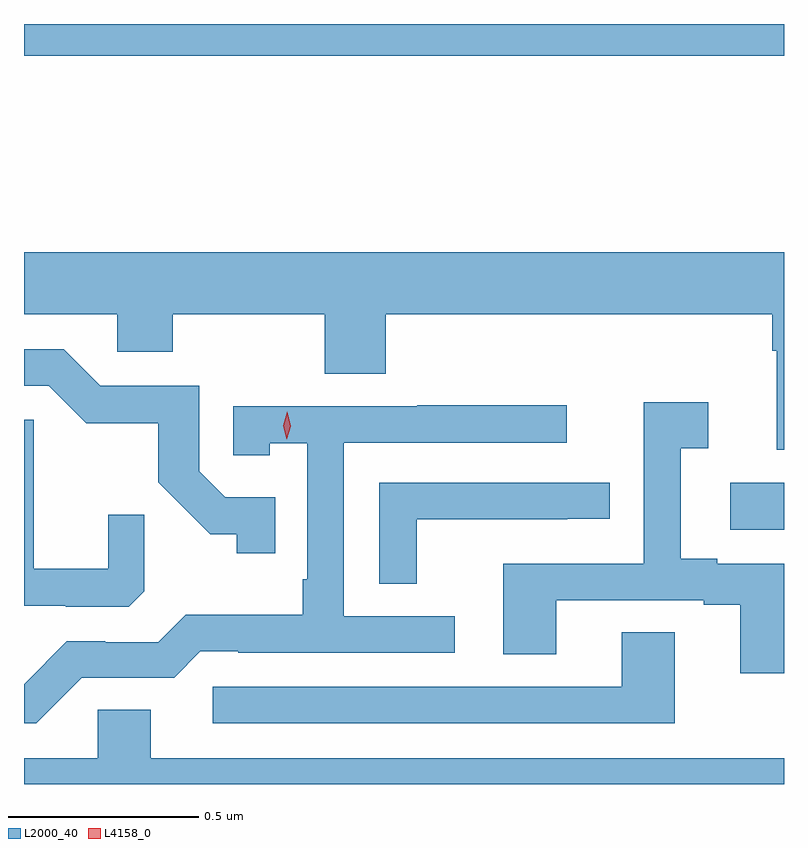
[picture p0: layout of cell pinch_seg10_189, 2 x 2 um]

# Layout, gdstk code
import gdstk
lib = gdstk.Library(unit=1e-6, precision=1e-09)
def R(c, l, rs):  # rectangles x0, y0, x1, y1
    for r in rs: c.add(gdstk.rectangle(r[:2], r[2:], *l))
def P(c, l, *ps):  # polygons
    for p in ps: c.add(gdstk.Polygon(p, *l))
L2000_40 = (2000, 40)
L4158_0 = (4158, 0)

pinch_seg10_189 = lib.new_cell('pinch_seg10_189')
R(pinch_seg10_189, L2000_40, [(758.361,1271.777,758.502,1271.901), (756.502,1273.024,758.502,1273.108)])
P(pinch_seg10_189, L2000_40, [(758.502,1272.508),(756.502,1272.508),(756.502,1272.344),(756.747,1272.344),(756.747,1272.246),(756.894,1272.246),(756.894,1272.344),(757.294,1272.344),(757.294,1272.187),(757.454,1272.187),(757.454,1272.344),(758.471,1272.344),(758.471,1272.248),(758.483,1272.248),(758.483,1271.988),(758.502,1271.988)],
  [(757.163,1271.862),(757.032,1271.862),(756.963,1271.931),(756.963,1272.156),(756.702,1272.156),(756.606,1272.252),(756.502,1272.252),(756.502,1272.156),(756.567,1272.156),(756.666,1272.058),(756.855,1272.058),(756.855,1271.902),(756.992,1271.765),(757.062,1271.765),(757.062,1271.715),(757.163,1271.715)],
  [(758.502,1271.688),(758.326,1271.688),(758.326,1271.701),(758.23,1271.701),(758.23,1271.992),(758.302,1271.992),(758.302,1272.112),(758.133,1272.112),(758.133,1271.688),(757.763,1271.688),(757.763,1271.449),(757.903,1271.449),(757.903,1271.592),(758.291,1271.592),(758.291,1271.58),(758.387,1271.58),(758.387,1271.4),(758.502,1271.4)],
  [(756.654,1271.388),(756.897,1271.388),(756.966,1271.457),(757.066,1271.457),(757.066,1271.454),(757.636,1271.454),(757.636,1271.55),(757.344,1271.55),(757.344,1272.006),(757.93,1272.006),(757.93,1272.105),(757.537,1272.105),(757.537,1272.102),(757.053,1272.102),(757.053,1271.973),(757.149,1271.973),(757.149,1272.005),(757.248,1272.005),(757.248,1271.647),(757.236,1271.647),(757.236,1271.554),(756.928,1271.554),(756.855,1271.481),(756.716,1271.481),(756.716,1271.484),(756.615,1271.484),(756.502,1271.371),(756.502,1271.268),(756.534,1271.268)],
  [(756.818,1271.615),(756.818,1271.817),(756.724,1271.817),(756.724,1271.674),(756.527,1271.674),(756.527,1272.066),(756.502,1272.066),(756.502,1271.577),(756.612,1271.577),(756.612,1271.574),(756.777,1271.574)],
  [(757.536,1271.805),(757.931,1271.805),(757.931,1271.806),(758.044,1271.806),(758.044,1271.901),(757.437,1271.901),(757.437,1271.635),(757.536,1271.635)],
  [(758.215,1271.507),(758.075,1271.507),(758.075,1271.364),(756.999,1271.364),(756.999,1271.268),(758.215,1271.268)],
  [(758.502,1271.176),(756.835,1271.176),(756.835,1271.303),(756.696,1271.303),(756.696,1271.176),(756.502,1271.176),(756.502,1271.108),(758.502,1271.108)])
P(pinch_seg10_189, L4158_0, [(757.194,1272.015),(757.194,1272.015),(757.184,1272.051),(757.195,1272.087),(757.195,1272.087),(757.195,1272.087),(757.204,1272.05),(757.194,1272.015)])

lib.write_gds('pinch_seg10_189.gds')
